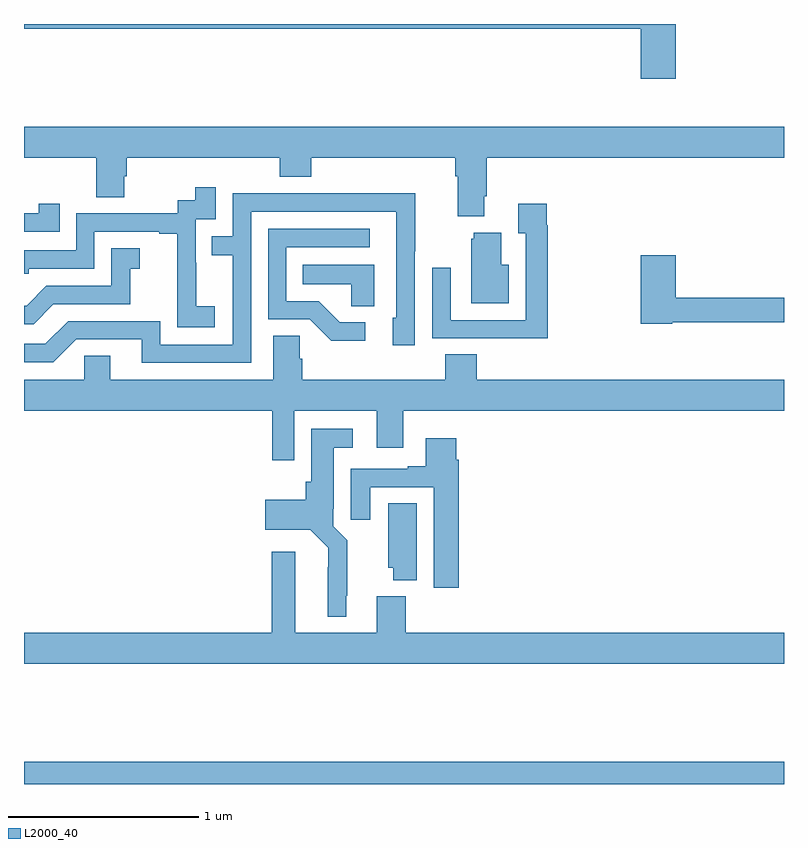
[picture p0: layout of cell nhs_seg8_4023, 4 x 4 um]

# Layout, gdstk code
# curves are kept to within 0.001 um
import gdstk
lib = gdstk.Library(unit=1e-6, precision=1e-09)
def R(c, l, rs):  # rectangles x0, y0, x1, y1
    for r in rs: c.add(gdstk.rectangle(r[:2], r[2:], *l))
def P(c, l, *ps):  # polygons
    for p in ps: c.add(gdstk.Polygon(p, *l))
L2000_40 = (2000, 40)

nhs_seg8_4023 = lib.new_cell('nhs_seg8_4023')
R(nhs_seg8_4023, L2000_40, [(359,1083.9,363,1084.016)])
P(nhs_seg8_4023, L2000_40, [(362.429,1087.9),(359,1087.9),(359,1087.876),(362.246,1087.876),(362.246,1087.611),(362.429,1087.611)],
  [(361.423,1086.994),(361.436,1086.994),(361.436,1087.196),(363,1087.196),(363,1087.36),(359,1087.36),(359,1087.196),(359.38,1087.196),(359.38,1086.988),(359.527,1086.988),(359.527,1087.098),(359.54,1087.098),(359.54,1087.196),(360.347,1087.196),(360.347,1087.097),(360.512,1087.097),(360.512,1087.196),(361.271,1087.196),(361.271,1087.1),(361.283,1087.1),(361.283,1086.887),(361.423,1086.887)],
  [(360.004,1086.415),(359.906,1086.415),(359.906,1086.644),(359.904,1086.644),(359.904,1086.873),(360.009,1086.873),(360.009,1087.042),(359.901,1087.042),(359.901,1086.972),(359.808,1086.972),(359.808,1086.903),(359.274,1086.903),(359.274,1086.708),(359,1086.708),(359,1086.585),(359.025,1086.585),(359.025,1086.612),(359.37,1086.612),(359.37,1086.807),(359.711,1086.807),(359.711,1086.795),(359.807,1086.795),(359.807,1086.511),(359.806,1086.511),(359.806,1086.305),(360.004,1086.305)],
  [(360.195,1086.912),(360.96,1086.912),(360.96,1086.354),(360.941,1086.354),(360.941,1086.21),(361.056,1086.21),(361.056,1086.703),(361.059,1086.703),(361.059,1087.01),(360.595,1087.01),(360.595,1087.008),(360.099,1087.008),(360.099,1086.783),(359.989,1086.783),(359.989,1086.682),(360.099,1086.682),(360.099,1086.213),(359.718,1086.213),(359.718,1086.336),(359.232,1086.336),(359.112,1086.216),(359,1086.216),(359,1086.12),(359.154,1086.12),(359.274,1086.24),(359.621,1086.24),(359.621,1086.117),(360.195,1086.117)],
  [(361.757,1086.842),(361.75,1086.842),(361.75,1086.955),(361.601,1086.955),(361.601,1086.799),(361.641,1086.799),(361.641,1086.342),(361.245,1086.342),(361.245,1086.616),(361.149,1086.616),(361.149,1086.246),(361.465,1086.246),(361.465,1086.245),(361.757,1086.245)],
  [(359.189,1086.955),(359.078,1086.955),(359.078,1086.903),(359,1086.903),(359,1086.807),(359.189,1086.807)],
  [(360.796,1086.33),(360.661,1086.33),(360.55,1086.441),(360.381,1086.441),(360.381,1086.726),(360.82,1086.726),(360.82,1086.822),(360.285,1086.822),(360.285,1086.345),(360.504,1086.345),(360.617,1086.233),(360.796,1086.233)],
  [(361.552,1086.634),(361.513,1086.634),(361.513,1086.802),(361.367,1086.802),(361.367,1086.771),(361.355,1086.771),(361.355,1086.431),(361.552,1086.431)],
  [(359.155,1086.426),(359.559,1086.426),(359.559,1086.611),(359.608,1086.611),(359.608,1086.721),(359.46,1086.721),(359.46,1086.522),(359.118,1086.522),(359.014,1086.418),(359,1086.418),(359,1086.321),(359.05,1086.321)],
  [(362.412,1086.33),(363,1086.33),(363,1086.458),(362.429,1086.458),(362.429,1086.682),(362.246,1086.682),(362.246,1086.322),(362.412,1086.322)],
  [(360.844,1086.634),(360.466,1086.634),(360.466,1086.53),(360.723,1086.53),(360.723,1086.415),(360.844,1086.415)],
  [(360.423,1085.864),(360.857,1085.864),(360.857,1085.67),(360.997,1085.67),(360.997,1085.864),(363,1085.864),(363,1086.028),(361.382,1086.028),(361.382,1086.161),(361.217,1086.161),(361.217,1086.028),(360.464,1086.028),(360.464,1086.137),(360.45,1086.137),(360.45,1086.26),(360.311,1086.26),(360.311,1086.028),(359.455,1086.028),(359.455,1086.155),(359.316,1086.155),(359.316,1086.028),(359,1086.028),(359,1085.864),(360.307,1085.864),(360.307,1085.604),(360.423,1085.604)],
  [(360.697,1084.891),(360.701,1084.891),(360.701,1085.182),(360.627,1085.256),(360.627,1085.35),(360.631,1085.35),(360.631,1085.669),(360.73,1085.669),(360.73,1085.77),(360.512,1085.77),(360.512,1085.49),(360.482,1085.49),(360.482,1085.395),(360.27,1085.395),(360.27,1085.237),(360.507,1085.237),(360.6,1085.144),(360.599,1084.781),(360.697,1084.781)],
  [(361.289,1085.606),(361.276,1085.606),(361.276,1085.719),(361.115,1085.719),(361.115,1085.572),(361.019,1085.572),(361.019,1085.559),(360.719,1085.559),(360.719,1085.292),(360.823,1085.292),(360.823,1085.463),(361.157,1085.463),(361.157,1084.932),(361.289,1084.932)],
  [(361.066,1085.378),(360.917,1085.378),(360.917,1085.037),(360.944,1085.037),(360.944,1084.973),(361.066,1084.973)],
  [(363,1084.696),(361.01,1084.696),(361.01,1084.888),(360.857,1084.888),(360.857,1084.696),(360.427,1084.696),(360.427,1085.122),(360.305,1085.122),(360.305,1084.696),(359,1084.696),(359,1084.532),(363,1084.532)])

lib.write_gds('nhs_seg8_4023.gds')
